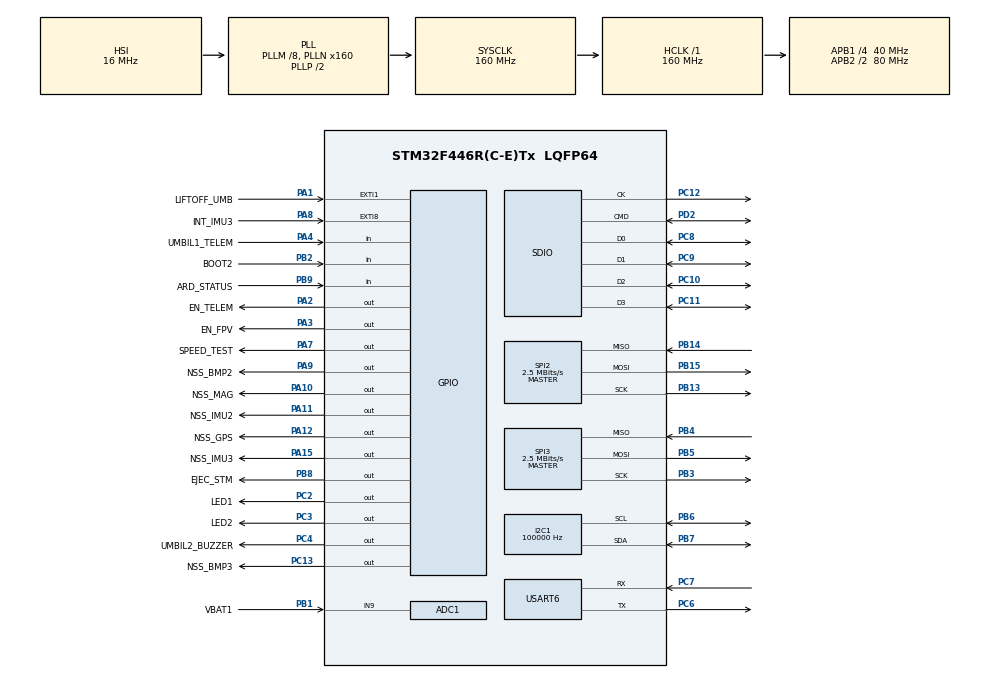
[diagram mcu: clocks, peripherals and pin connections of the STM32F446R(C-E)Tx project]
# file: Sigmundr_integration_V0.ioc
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ADC1.Channel-0\#ChannelRegularConversion=ADC_CHANNEL_9
ADC1.Channel-IN9=ADC_CHANNEL_9
ADC1.ClockPrescaler=ADC_CLOCK_SYNC_PCLK_DIV8
ADC1.ContinuousConvMode=DISABLE
ADC1.DMAContinuousRequests=DISABLE
ADC1.DataAlign=ADC_DATAALIGN_RIGHT
ADC1.DiscontinuousConvMode=DISABLE
ADC1.EOCSelection=ADC_EOC_SINGLE_CONV
ADC1.EnableAnalogWatchDog=false
ADC1.ExternalTrigConv=ADC_SOFTWARE_START
ADC1.ExternalTrigConvEdge=ADC_EXTERNALTRIGCONVEDGE_NONE
ADC1.InjNumberOfConversion=0
ADC1.Mode=__NULL
ADC1.NbrOfConversion=1
ADC1.Rank-0\#ChannelRegularConversion=1
ADC1.Resolution=ADC_RESOLUTION_12B
ADC1.SamplingTime-0\#ChannelRegularConversion=ADC_SAMPLETIME_15CYCLES
ADC1.ScanConvMode=DISABLE
ADC1.master=1
Dma.Request0=SPI2_RX
Dma.Request1=SPI2_TX
Dma.Request2=SPI3_RX
Dma.Request3=SPI3_TX
Dma.Request4=USART6_RX
Dma.Request5=USART6_TX
Dma.SPI2_RX.0.Direction=DMA_PERIPH_TO_MEMORY
Dma.SPI2_RX.0.FIFOMode=DMA_FIFOMODE_DISABLE
Dma.SPI2_RX.0.Instance=DMA1_Stream3
Dma.SPI2_RX.0.MemDataAlignment=DMA_MDATAALIGN_BYTE
Dma.SPI2_RX.0.MemInc=DMA_MINC_ENABLE
Dma.SPI2_RX.0.Mode=DMA_NORMAL
Dma.SPI2_RX.0.PeriphDataAlignment=DMA_PDATAALIGN_BYTE
Dma.SPI2_RX.0.PeriphInc=DMA_PINC_DISABLE
Dma.SPI2_RX.0.Priority=DMA_PRIORITY_MEDIUM
Dma.SPI2_TX.1.Direction=DMA_MEMORY_TO_PERIPH
Dma.SPI2_TX.1.FIFOMode=DMA_FIFOMODE_DISABLE
Dma.SPI2_TX.1.Instance=DMA1_Stream4
Dma.SPI2_TX.1.MemDataAlignment=DMA_MDATAALIGN_BYTE
Dma.SPI2_TX.1.MemInc=DMA_MINC_ENABLE
Dma.SPI2_TX.1.Mode=DMA_NORMAL
Dma.SPI2_TX.1.PeriphDataAlignment=DMA_PDATAALIGN_BYTE
Dma.SPI2_TX.1.PeriphInc=DMA_PINC_DISABLE
Dma.SPI2_TX.1.Priority=DMA_PRIORITY_MEDIUM
Dma.SPI3_RX.2.Direction=DMA_PERIPH_TO_MEMORY
Dma.SPI3_RX.2.FIFOMode=DMA_FIFOMODE_DISABLE
Dma.SPI3_RX.2.Instance=DMA1_Stream0
Dma.SPI3_RX.2.MemDataAlignment=DMA_MDATAALIGN_BYTE
Dma.SPI3_RX.2.MemInc=DMA_MINC_ENABLE
Dma.SPI3_RX.2.Mode=DMA_NORMAL
Dma.SPI3_RX.2.PeriphDataAlignment=DMA_PDATAALIGN_BYTE
Dma.SPI3_RX.2.PeriphInc=DMA_PINC_DISABLE
Dma.SPI3_RX.2.Priority=DMA_PRIORITY_HIGH
Dma.SPI3_TX.3.Direction=DMA_MEMORY_TO_PERIPH
Dma.SPI3_TX.3.FIFOMode=DMA_FIFOMODE_DISABLE
Dma.SPI3_TX.3.Instance=DMA1_Stream5
Dma.SPI3_TX.3.MemDataAlignment=DMA_MDATAALIGN_BYTE
Dma.SPI3_TX.3.MemInc=DMA_MINC_ENABLE
Dma.SPI3_TX.3.Mode=DMA_NORMAL
Dma.SPI3_TX.3.PeriphDataAlignment=DMA_PDATAALIGN_BYTE
Dma.SPI3_TX.3.PeriphInc=DMA_PINC_DISABLE
Dma.SPI3_TX.3.Priority=DMA_PRIORITY_HIGH
Dma.USART6_RX.4.Direction=DMA_PERIPH_TO_MEMORY
Dma.USART6_RX.4.FIFOMode=DMA_FIFOMODE_DISABLE
Dma.USART6_RX.4.Instance=DMA2_Stream1
Dma.USART6_RX.4.MemDataAlignment=DMA_MDATAALIGN_BYTE
Dma.USART6_RX.4.MemInc=DMA_MINC_ENABLE
Dma.USART6_RX.4.Mode=DMA_NORMAL
Dma.USART6_RX.4.PeriphDataAlignment=DMA_PDATAALIGN_BYTE
Dma.USART6_RX.4.PeriphInc=DMA_PINC_DISABLE
Dma.USART6_RX.4.Priority=DMA_PRIORITY_LOW
Dma.USART6_TX.5.Direction=DMA_MEMORY_TO_PERIPH
Dma.USART6_TX.5.FIFOMode=DMA_FIFOMODE_DISABLE
Dma.USART6_TX.5.Instance=DMA2_Stream7
Dma.USART6_TX.5.MemDataAlignment=DMA_MDATAALIGN_BYTE
Dma.USART6_TX.5.MemInc=DMA_MINC_ENABLE
Dma.USART6_TX.5.Mode=DMA_NORMAL
Dma.USART6_TX.5.PeriphDataAlignment=DMA_PDATAALIGN_BYTE
Dma.USART6_TX.5.PeriphInc=DMA_PINC_DISABLE
Dma.USART6_TX.5.Priority=DMA_PRIORITY_LOW
FATFS.USE_DMA_CODE_SD=0
FATFS._MAX_SS=4096
FATFS._STRF_ENCODE=0
I2C1.AddressingMode=I2C_ADDRESSINGMODE_7BIT
I2C1.ClockSpeed=100000
I2C1.DualAddressMode=I2C_DUALADDRESS_DISABLE
I2C1.GeneralCallMode=I2C_GENERALCALL_DISABLE
I2C1.I2C_Mode=I2C_Standard
I2C1.NoStretchMode=I2C_NOSTRETCH_DISABLE
I2C1.OwnAddress=0
Mcu.Family=STM32F4
Mcu.Name=STM32F446R(C-E)Tx
Mcu.Package=LQFP64
NVIC.DMA1_Stream0_IRQn=true\:0\:0\:false\:false\:true\:false\:true
NVIC.DMA1_Stream3_IRQn=true\:0\:0\:false\:false\:true\:false\:true
NVIC.DMA1_Stream4_IRQn=true\:0\:0\:false\:false\:true\:false\:true
NVIC.DMA1_Stream5_IRQn=true\:0\:0\:false\:false\:true\:false\:true
NVIC.DMA2_Stream1_IRQn=true\:0\:0\:false\:false\:true\:false\:true
NVIC.DMA2_Stream7_IRQn=true\:0\:0\:false\:false\:true\:false\:true
NVIC.PriorityGroup=NVIC_PRIORITYGROUP_0
PA1.GPIO_Label=LIFTOFF_UMB
PA1.GPIO_ModeDefaultEXTI=GPIO_MODE_IT_FALLING
PA1.Signal=GPXTI1
PA10.GPIO_Label=NSS_MAG
PA10.GPIO_Speed=GPIO_SPEED_FREQ_HIGH
PA10.PinState=GPIO_PIN_SET
PA10.Signal=GPIO_Output
PA11.GPIO_Label=NSS_IMU2
PA11.GPIO_Speed=GPIO_SPEED_FREQ_HIGH
PA11.PinState=GPIO_PIN_SET
PA11.Signal=GPIO_Output
PA12.GPIO_Label=NSS_GPS
PA12.GPIO_Speed=GPIO_SPEED_FREQ_HIGH
PA12.PinState=GPIO_PIN_SET
PA12.Signal=GPIO_Output
PA13.Mode=Serial_Wire
PA13.Signal=SYS_JTMS-SWDIO
PA14.Mode=Serial_Wire
PA14.Signal=SYS_JTCK-SWCLK
PA15.GPIO_Label=NSS_IMU3
PA15.GPIO_Speed=GPIO_SPEED_FREQ_HIGH
PA15.PinState=GPIO_PIN_SET
PA15.Signal=GPIO_Output
PA2.GPIO_Label=EN_TELEM
PA2.Signal=GPIO_Output
PA3.GPIO_Label=EN_FPV
PA3.Signal=GPIO_Output
PA4.GPIO_Label=UMBIL1_TELEM
PA4.GPIO_PuPd=GPIO_PULLUP
PA4.Signal=GPIO_Input
PA7.GPIO_Label=SPEED_TEST
PA7.Signal=GPIO_Output
PA8.GPIO_Label=INT_IMU3
PA8.Signal=GPXTI8
PA9.GPIO_Label=NSS_BMP2
PA9.GPIO_Speed=GPIO_SPEED_FREQ_HIGH
PA9.PinState=GPIO_PIN_SET
PA9.Signal=GPIO_Output
PB0.GPIO_Label=VBAT2
PB0.Signal=ADCx_IN8
PB1.GPIO_Label=VBAT1
PB1.Signal=ADCx_IN9
PB13.Mode=Full_Duplex_Master
PB13.Signal=SPI2_SCK
PB14.Mode=Full_Duplex_Master
PB14.Signal=SPI2_MISO
PB15.Mode=Full_Duplex_Master
PB15.Signal=SPI2_MOSI
PB2.GPIO_Label=BOOT2
PB2.Signal=GPIO_Input
PB3.Mode=Full_Duplex_Master
PB3.Signal=SPI3_SCK
PB4.Mode=Full_Duplex_Master
PB4.Signal=SPI3_MISO
PB5.Mode=Full_Duplex_Master
PB5.Signal=SPI3_MOSI
PB6.GPIO_PuPdOD=GPIO_NOPULL
PB6.Mode=I2C
PB6.Signal=I2C1_SCL
PB7.GPIO_PuPdOD=GPIO_NOPULL
PB7.Mode=I2C
PB7.Signal=I2C1_SDA
PB8.GPIO_Label=EJEC_STM
PB8.Signal=GPIO_Output
PB9.GPIO_Label=ARD_STATUS
PB9.GPIO_PuPd=GPIO_PULLDOWN
PB9.Signal=GPIO_Input
PC10.Mode=SD_4_bits_Wide_bus
PC10.Signal=SDIO_D2
PC11.Mode=SD_4_bits_Wide_bus
PC11.Signal=SDIO_D3
PC12.Mode=SD_4_bits_Wide_bus
PC12.Signal=SDIO_CK
PC13.GPIO_Label=NSS_BMP3
PC13.PinState=GPIO_PIN_SET
PC13.Signal=GPIO_Output
PC14-OSC32_IN.Mode=LSE-External-Clock-Source
PC14-OSC32_IN.Signal=RCC_OSC32_IN
PC15-OSC32_OUT.Mode=LSE-External-Clock-Source
PC15-OSC32_OUT.Signal=RCC_OSC32_OUT
PC2.GPIO_Label=LED1
PC2.Signal=GPIO_Output
PC3.GPIO_Label=LED2
PC3.Signal=GPIO_Output
PC4.GPIO_Label=UMBIL2_BUZZER
PC4.PinState=GPIO_PIN_SET
PC4.Signal=GPIO_Output
PC6.Mode=Asynchronous
PC6.Signal=USART6_TX
PC7.Mode=Asynchronous
PC7.Signal=USART6_RX
PC8.Mode=SD_4_bits_Wide_bus
PC8.Signal=SDIO_D0
PC9.Mode=SD_4_bits_Wide_bus
PC9.Signal=SDIO_D1
PD2.Mode=SD_4_bits_Wide_bus
PD2.Signal=SDIO_CMD
PH0-OSC_IN.Mode=HSE-External-Clock-Source
PH0-OSC_IN.Signal=RCC_OSC_IN
PH1-OSC_OUT.Mode=HSE-External-Clock-Source
PH1-OSC_OUT.Signal=RCC_OSC_OUT
ProjectManager.HeapSize=0x2000
ProjectManager.StackSize=0x4000
ProjectManager.TargetToolchain=TrueSTUDIO
RCC.AHBFreq_Value=160000000
RCC.APB1CLKDivider=RCC_HCLK_DIV4
RCC.APB1Freq_Value=40000000
RCC.APB1TimFreq_Value=80000000
RCC.APB2CLKDivider=RCC_HCLK_DIV2
RCC.APB2Freq_Value=80000000
RCC.APB2TimFreq_Value=160000000
RCC.CortexFreq_Value=160000000
RCC.HCLKFreq_Value=160000000
RCC.PLLM=8
RCC.PLLN=160
RCC.PLLQ=13
RCC.RCC_RTC_Clock_SourceVirtual=RCC_RTCCLKSOURCE_LSE
RCC.SYSCLKFreq_VALUE=160000000
RCC.SYSCLKSource=RCC_SYSCLKSOURCE_PLLCLK
RCC.USBFreq_Value=24615384.615384616
RCC.VCOOutputFreq_Value=320000000
RTC.AsynchPrediv=127
RTC.Format=RTC_FORMAT_BIN
RTC.SynchPrediv=255
SDIO.ClockDiv=3
SH.ADCx_IN8.0=ADC2_IN8
SH.ADCx_IN9.0=ADC1_IN9,IN9
SPI2.BaudRatePrescaler=SPI_BAUDRATEPRESCALER_16
SPI2.CLKPhase=SPI_PHASE_1EDGE
SPI2.CLKPolarity=SPI_POLARITY_LOW
SPI2.CRCCalculation=SPI_CRCCALCULATION_DISABLE
SPI2.CalculateBaudRate=2.5 MBits/s
SPI2.DataSize=SPI_DATASIZE_8BIT
SPI2.Direction=SPI_DIRECTION_2LINES
SPI2.FirstBit=SPI_FIRSTBIT_MSB
SPI2.Mode=SPI_MODE_MASTER
SPI2.NSS=SPI_NSS_SOFT
SPI2.TIMode=SPI_TIMODE_DISABLE
SPI2.VirtualType=VM_MASTER
SPI3.BaudRatePrescaler=SPI_BAUDRATEPRESCALER_16
SPI3.CLKPhase=SPI_PHASE_1EDGE
SPI3.CLKPolarity=SPI_POLARITY_LOW
SPI3.CRCCalculation=SPI_CRCCALCULATION_DISABLE
SPI3.CalculateBaudRate=2.5 MBits/s
SPI3.DataSize=SPI_DATASIZE_8BIT
SPI3.Direction=SPI_DIRECTION_2LINES
SPI3.FirstBit=SPI_FIRSTBIT_MSB
SPI3.Mode=SPI_MODE_MASTER
SPI3.NSS=SPI_NSS_SOFT
SPI3.TIMode=SPI_TIMODE_DISABLE
SPI3.VirtualType=VM_MASTER
TIM2.Period=4294967295
TIM2.Prescaler=8000
USART6.VirtualMode=VM_ASYNC
VP_FATFS_VS_SDIO.Mode=SDIO
VP_RTC_VS_RTC_Activate.Mode=RTC_Enabled
VP_RTC_VS_RTC_Calendar.Mode=RTC_Calendar
VP_TIM2_VS_ClockSourceINT.Mode=Internal
board=NUCLEO-F446RE

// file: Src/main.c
/* USER CODE BEGIN Header */
/**
  ******************************************************************************
  * @file           : main.c
  * @brief          : Main program body
  ******************************************************************************
  * @attention
  *
  * <h2><center>&copy; Copyright (c) 2019 STMicroelectronics.
  * All rights reserved.</center></h2>
  *
  * This software component is licensed by ST under Ultimate Liberty license
  * SLA0044, the "License"; You may not use this file except in compliance with
  * the License. You may obtain a copy of the License at:
  *                             www.st.com/SLA0044
  *
  ******************************************************************************
  */

//Should put : (version of CubeMx doesn't allow it)
//hadc1.Init.DMAContinuousRequests = ENABLE;
//hadc2.Init.DMAContinuousRequests = ENABLE;
/* USER CODE END Header */

#include "main.h"
#include "fatfs.h"

ADC_HandleTypeDef hadc1;

I2C_HandleTypeDef hi2c1;

RTC_HandleTypeDef hrtc;

SD_HandleTypeDef hsd;

SPI_HandleTypeDef hspi2;
SPI_HandleTypeDef hspi3;
DMA_HandleTypeDef hdma_spi2_rx;
DMA_HandleTypeDef hdma_spi2_tx;
DMA_HandleTypeDef hdma_spi3_rx;
DMA_HandleTypeDef hdma_spi3_tx;

TIM_HandleTypeDef htim2;

UART_HandleTypeDef huart6;
DMA_HandleTypeDef hdma_usart6_rx;
DMA_HandleTypeDef hdma_usart6_tx;

/* USER CODE BEGIN PV */
RTC_TimeTypeDef sTime = {0};								//time from RTC
RTC_DateTypeDef sDate = {0};								//time from RTC
param Bmp2, Bmp3;											//compensation parameters for BMP
uint32_t arm = 0;											//arm variable 	(extern)
uint32_t sample = 0;										//sample variable (extern)
uint32_t err_msg = 0;										//err_msg variable
uint32_t err_init = 0;
/* USER CODE END PV */

void SystemClock_Config(void);
static void MX_GPIO_Init(void);
static void MX_DMA_Init(void);
static void MX_SPI2_Init(void);
static void MX_SPI3_Init(void);
static void MX_I2C1_Init(void);
static void MX_ADC1_Init(void);
static void MX_RTC_Init(void);
static void MX_SDIO_SD_Init(void);
static void MX_TIM2_Init(void);
static void MX_USART6_UART_Init(void);
/* USER CODE BEGIN PFP */
void SD_cardMountInit(FATFS* fs, FIL* f, UINT* bw);
/* USER CODE END PFP */

int main(void)
{
  /* USER CODE BEGIN 1 */
	FATFS fs;
	FIL file;
	UINT bw;
	FRESULT r;

	uint8_t status = 0, statusEjection = 0, statusIgnition = 0, statusLaunched = 0, statusApogee = 0, statusTelem = 0, statusArduinoArming = 0, statusGround = 0;
	uint8_t notLaunched = 1;
	uint16_t ADC_battery1=0, ADC_battery2=0;
	uint32_t readPinPlug = 0;
	uint32_t timerInternal = 0, timeLaunch = 0, timeWindowStart = 0, timeWindowEnd = 0, timeIgnitionEnd = 0, timeGround = 0;
	static const uint32_t windowStart = 105000, windowEnd = 140000;			//Window time in increment of 0.1ms
	static const uint32_t durationIgnition = 100000;							//Minimum duration of ignition for ejection (increment of 0.1ms)
	static const uint32_t timeDescent = 3000000;								//Descent time 5 minutes
	static const uint32_t timeLoop = 200, timeLoopMax = 500;		//time of loop = 20ms
	ArrayRaw DataRawArray = {0};
	ArrayRaw *pointDataRawArray = &DataRawArray;
	ArrayRaw DataRawArrayFreez = {0};
	ArrayRaw *pointDataRawArrayFreez = &DataRawArrayFreez;
	ArrayConv DataConvArray = {{0.0}};
	ArrayRaw *pointDataConvArray = &DataConvArray;
	uint32_t epoch = 0, counterBuzzer = 0, counterTelem = 0;
	time_value t_now;
	gpsParsedPacketTypeDef1 parsedPacketData;								//added by sonal
	gpsParsedPacketTypeDef1 *pointParsedGpsStruct = &parsedPacketData; 		//added by sonal
  /* USER CODE END 1 */

  /* MCU Configuration--------------------------------------------------------*/

  /* Reset of all peripherals, Initializes the Flash interface and the Systick. */
  HAL_Init();

  /* Configure the system clock */
  SystemClock_Config();

  /* Initialize all configured peripherals */
  MX_GPIO_Init();
  MX_DMA_Init();
  MX_SPI2_Init();
  MX_SPI3_Init();
  MX_I2C1_Init();
  MX_ADC1_Init();
  MX_RTC_Init();
  MX_SDIO_SD_Init();
  MX_TIM2_Init();
  MX_USART6_UART_Init();
  MX_FATFS_Init();
  /* USER CODE BEGIN 2 */
   HAL_GPIO_WritePin(LED1_GPIO_Port,LED1_Pin, GPIO_PIN_SET);
   HAL_Delay(10);
   HAL_TIM_Base_Start(&htim2);																	//starts timer2
   err_init |= sensorsInitialization(&Bmp2, &Bmp3);												//Initialization of sensors (IMU,BMP,MAG)
   //if(HAL_ADC_Start_DMA(&hadc1, (uint32_t*) &ADC_battery1, 1) != HAL_OK){err_init |= ERR_INIT_ADC1;}		//Initialization ADC1 (reading voltage Vbat1)
   //if(HAL_ADC_Start_DMA(&hadc2, (uint32_t*) &ADC_battery2, 1) != HAL_OK){err_init |= ERR_INIT_ADC2;}		//Initialization ADC2 (reading voltage Vbat2)
   //SD_cardMountInit(&fs, &file, &bw);															//SD card initialization
	if((r=f_mount(&fs,SDPath,1)) == FR_OK){
		uint8_t path[] = "data.txt\0";
		r = f_open(&file, (char*)path, FA_WRITE |FA_OPEN_APPEND);
	}
	if(r != FR_OK){err_init |= ERR_INIT_SD_CARD};

   while(readPinPlug == 0){															//wait till liftoff wire is connected
	   readPinPlug = 1;
	   for(uint32_t i=0; i<100; i++){												//make sure the connection is solid
			   readPinPlug &= HAL_GPIO_ReadPin(LIFTOFF_UMB_GPIO_Port, LIFTOFF_UMB_Pin);
			   HAL_Delay(10);
	   }
   }
   while(HAL_GPIO_ReadPin(ARD_STATUS_GPIO_Port,ARD_STATUS_Pin) != GPIO_PIN_SET);				//wait till arduino is initialized

   if(err_init==0){
		HAL_GPIO_WritePin(LED2_GPIO_Port, LED2_Pin, GPIO_PIN_SET);
		HAL_GPIO_WritePin(UMBIL2_BUZZER_GPIO_Port, UMBIL2_BUZZER_Pin, GPIO_PIN_RESET);				//Long beep = initialization OK
		HAL_Delay(500);
		HAL_GPIO_WritePin(UMBIL2_BUZZER_GPIO_Port, UMBIL2_BUZZER_Pin, GPIO_PIN_SET);
   }
   epoch = 0;

   //clearFIFO(NSS_IMU3_GPIO_Port, NSS_IMU3_Pin, &hspi3);		//clear the FIFO of the IMU
   clearFIFO(NSS_IMU2_GPIO_Port, NSS_IMU2_Pin, &hspi2); 		//clear the FIFO of the IMU
  /* USER CODE END 2 */

  /* Infinite loop */
  while (1)
  {

    /* USER CODE BEGIN 3 */
	  //while(sample == 0); 												//Wait till new sample time (change by interrupt)
	  //HAL_GPIO_WritePin(SPEED_TEST_GPIO_Port,SPEED_TEST_Pin,GPIO_PIN_SET);
	  //htim3.Instance->CNT = 0;											//put back the CNT from timer3 (for sampling) to zero
	  //sample = 0;
	  //HAL_Delay(50);
	  if(__HAL_TIM_GET_COUNTER(&htim2) > timerInternal + timeLoopMax){err_msg |= ERR_LOOP_TIME};
	  while(__HAL_TIM_GET_COUNTER(&htim2) < timerInternal + timeLoop);	//50 Hz loop
	  timerInternal = __HAL_TIM_GET_COUNTER(&htim2);					//Check time (counter) post launch
	  HAL_RTC_GetTime(&hrtc, &sTime, RTC_FORMAT_BIN); 					//sTime.Hours .Minutes .Seconds .SubSeconds (up to 255).
	  HAL_RTC_GetDate(&hrtc, &sDate, RTC_FORMAT_BIN);					//read Date to unlock Time values
	  epoch++;
	  counterBuzzer++;
	  counterTelem++;
	  DataRawArray.RTC_field[0] = sTime.Hours;								//Put RTC in the frame
	  DataRawArray.RTC_field[1] = sTime.Minutes;
	  DataRawArray.RTC_field[2] = sTime.Seconds;
	  DataRawArray.RTC_field[3] = (uint8_t)(sTime.SecondFraction-sTime.SubSeconds);
	  DataRawArray.Timer = timerInternal;

	  //readIMU((uint8_t*) pointDataRawArray->IMU3, WATERMARK_IMU3, NSS_IMU3_GPIO_Port, NSS_IMU3_Pin, &hspi3);
	  if(readIMU((uint8_t*) pointDataRawArray->IMU2, WATERMARK_IMU2, NSS_IMU2_GPIO_Port, NSS_IMU2_Pin, &hspi2)==1){err_msg |= ERR_NUMBER_BYTES_IMU2;}
	  HAL_ADC_Start(&hadc1);										//start conversion battery voltage1
	  readBMPCal((int32_t*) pointDataRawArray->BMP2, Bmp2, NSS_BMP2_GPIO_Port, NSS_BMP2_Pin, &hspi2);
	  readMAG((uint8_t*) pointDataRawArray->MAG, NSS_MAG_GPIO_Port, NSS_MAG_Pin, &hspi2);
	  readBMPCal((int32_t*) pointDataRawArray->BMP3, Bmp3, NSS_BMP3_GPIO_Port, NSS_BMP3_Pin, &hspi3);
	  readPITOT((uint8_t*) pointDataRawArray->PITOT, &hi2c1);
	  if(HAL_ADC_PollForConversion(&hadc1,1) == HAL_OK){ADC_battery1 = HAL_ADC_GetValue(&hadc1);} //read battery voltage
	  //HAL_ADC_Start(&hadc2);										//Read battery voltage2

	  convertSensors((ArrayConv*)pointDataConvArray, (ArrayRaw*)pointDataRawArray);	//Convert the Data if needed (IMU-BMP-MAG-PITOT)

	  if(epoch >= 20){
		  DataRawArray.FrameNumber = 2;
		  DataRawArray.Endline1[0] = 0;
		  DataRawArray.Endline1[1] = 0;
		  DataRawArray.Endline2[0] = '\r';
		  DataRawArray.Endline2[1] = '\n';
		  //while(hspi2.State != HAL_SPI_STATE_READY){err_msg |= WAIT_IMU2_FINISH_BEFORE_GPS;}
		  //READ GPS
		  gpsSelect();		//resets the CS pin
		  GPS_ReceiveRawPacket(&hspi2);		//read 600 bytes from the receiver over SPI with timeout 10ms
		  gpsDeselect();	//sets the CS pin

		  //to process the read packets, call this function below
		  pointParsedGpsStruct = GPS_ProcessRawPacket();
		  //put the data to the main structure
		  DataRawArray.GPS.currentAltitude = pointParsedGpsStruct->currentAltitude;
		  DataRawArray.GPS.currentLatitude = pointParsedGpsStruct->currentLatitude;
		  DataRawArray.GPS.currentLongitude = pointParsedGpsStruct->currentLongitude;
		  DataRawArray.GPS.fixParamters = pointParsedGpsStruct->fixParamters;
		  DataRawArray.GPS.groundSpeedKmph = pointParsedGpsStruct->groundSpeedKmph;
		  DataRawArray.GPS.hDOP = pointParsedGpsStruct->hDOP;
		  DataRawArray.GPS.magneticHeading = pointParsedGpsStruct->magneticHeading;
		  DataRawArray.GPS.pDOP = pointParsedGpsStruct->pDOP;
		  DataRawArray.GPS.vDOP = pointParsedGpsStruct->vDOP;
	  }
	  else{
		  DataRawArray.FrameNumber = 1;
		  DataRawArray.Endline1[0] = '\r';
		  DataRawArray.Endline1[1] = '\n';
	  }

	  //DETECT APOGEE FUNCTION		----- ADD THIS -----
	  t_now.tv_sec = (sTime.Hours*60 + sTime.Minutes)*60 + sTime.Seconds;
	  t_now.tv_msec = ((sTime.SecondFraction-sTime.SubSeconds) / (sTime.SecondFraction+1.0))*1000;
	  statusEjection = detectEventsAndTriggerParachute((double) DataConvArray.IMU2[2], (double) DataConvArray.PITOT, (double) DataConvArray.BMP3[1], notLaunched, t_now);
	  DataRawArray.Status2 = statusEjection;
	  if(statusEjection >= 128){statusApogee = 1;}		//apogee is detected when MSB of statusEjection==1

	  if((HAL_GPIO_ReadPin(LIFTOFF_UMB_GPIO_Port, LIFTOFF_UMB_Pin) == GPIO_PIN_RESET) && (statusLaunched == 0)){
		  statusLaunched = 1;
		  notLaunched = 0;
		  timeLaunch = timerInternal;
		  timeWindowStart = timeLaunch + windowStart;
		  timeWindowEnd = timeLaunch + windowEnd;
		  timeIgnitionEnd = timeWindowEnd + durationIgnition;
		  timeGround = timeIgnitionEnd + timeDescent;
	  }
	  if((statusLaunched == 1) && (statusApogee == 1) && (timerInternal > timeWindowStart) && (timerInternal < timeWindowEnd)){
		  HAL_GPIO_WritePin(EJEC_STM_GPIO_Port, EJEC_STM_Pin, GPIO_PIN_SET);		// ejection parachute after detection
		  statusIgnition = 1;
	  }
	  if((statusLaunched == 1) && (timerInternal >= timeWindowEnd) && (timerInternal <= timeIgnitionEnd)){
		  HAL_GPIO_WritePin(EJEC_STM_GPIO_Port, EJEC_STM_Pin, GPIO_PIN_SET);		// Force the ejection parachute
		  statusIgnition = 1;
	  }
	  if((statusLaunched == 1) && (timerInternal > timeIgnitionEnd)){
		  HAL_GPIO_WritePin(EJEC_STM_GPIO_Port, EJEC_STM_Pin, GPIO_PIN_RESET);		// Stop ignition
		  statusIgnition = 0;
	  }
	  if((statusLaunched == 1) && (timerInternal > timeGround)){					//report on ground
		  HAL_GPIO_WritePin(EN_FPV_GPIO_Port, EN_FPV_Pin, GPIO_PIN_RESET); 			//Stop FPV
		  statusGround = 1;
	  }

	  //activate telemetry + FPV
	  if((HAL_GPIO_ReadPin(UMBIL1_TELEM_GPIO_Port, UMBIL1_TELEM_Pin) == GPIO_PIN_SET) && (statusGround==0)){
		  HAL_GPIO_WritePin(EN_TELEM_GPIO_Port, EN_TELEM_Pin, GPIO_PIN_SET); 							//Activate telem
		  HAL_GPIO_WritePin(EN_FPV_GPIO_Port, EN_FPV_Pin, GPIO_PIN_SET); 								//Activate FPV
		  statusTelem = 1;
	  }
	  if(HAL_GPIO_ReadPin(UMBIL1_TELEM_GPIO_Port, UMBIL1_TELEM_Pin) == GPIO_PIN_RESET){			//command from LPS
		  HAL_GPIO_WritePin(EN_TELEM_GPIO_Port, EN_TELEM_Pin, GPIO_PIN_RESET);							//Stop telem
		  HAL_GPIO_WritePin(EN_FPV_GPIO_Port, EN_FPV_Pin, GPIO_PIN_RESET); 								//Stop FPV
		  statusTelem = 0;
	  }

	  //while(hspi3.State != HAL_SPI_STATE_READY){err_msg |= WAIT_IMU3_FINISH;}
	  //readBMPCal((int32_t*) pointDataRawArray->BMP3, Bmp3, NSS_BMP3_GPIO_Port, NSS_BMP3_Pin, &hspi3);
	  //while(hspi2.State != HAL_SPI_STATE_READY){err_msg |= WAIT_GPS_FINISH};
	  //readBMPCal((int32_t*) pointDataRawArray->BMP2, Bmp2, NSS_BMP2_GPIO_Port, NSS_BMP2_Pin, &hspi2);
	  //readMAG((uint8_t*) pointDataRawArray->MAG, NSS_MAG_GPIO_Port, NSS_MAG_Pin, &hspi2);
	  //while(hdma_adc1.State != HAL_DMA_STATE_READY){err_msg |= WAIT_ADC1_TO_FINISH};
	  //while(hdma_adc2.State != HAL_DMA_STATE_READY){err_msg |= WAIT_ADC2_TO_FINISH};

	  //just for testing
	  //DataRawArray.Endline1[0] = 0;
	  //DataRawArray.Endline1[1] = 0;
	  //DataRawArray.Endline2[0] = '/r';
	  //DataRawArray.Endline2[1] = '/n';

	  if(HAL_GPIO_ReadPin(ARD_STATUS_GPIO_Port,ARD_STATUS_Pin) == GPIO_PIN_RESET){statusArduinoArming = 1;}
	  else{statusArduinoArming = 0;}
	  status |= statusTelem << STATUS_TELEM;
	  status |= statusLaunched << STATUS_LAUNCHED;
	  status |= statusApogee << STATUS_APOGEE;
	  status |= statusIgnition << STATUS_IGNITING;
	  status |= statusArduinoArming << STATUS_ARDUINO_ARMING;
	  status |= statusGround << STATUS_GROUND;
	  DataRawArray.Status1 = status;
	  DataRawArray.Battery1 = ADC_battery1;
	  //DataRawArray.Battery2 = ADC_battery2;
	  DataRawArray.Err_msg = (uint8_t) err_msg;
	  err_msg = 0;

	  if(statusArduinoArming == 1){HAL_GPIO_WritePin(UMBIL2_BUZZER_GPIO_Port, UMBIL2_BUZZER_Pin, GPIO_PIN_RESET);}
	  else if(statusLaunched == 1){
		  if(statusGround == 0){
			  if(timerInternal < timeIgnitionEnd){HAL_GPIO_WritePin(UMBIL2_BUZZER_GPIO_Port, UMBIL2_BUZZER_Pin, GPIO_PIN_RESET);}	//before end of ignition : buzzer on
			  else{HAL_GPIO_WritePin(UMBIL2_BUZZER_GPIO_Port, UMBIL2_BUZZER_Pin, GPIO_PIN_SET);}									//after ignition, before ground : buzzer off
		  }
		  else{																														//on ground, long beeping
			  if(counterBuzzer==1){HAL_GPIO_WritePin(UMBIL2_BUZZER_GPIO_Port, UMBIL2_BUZZER_Pin, GPIO_PIN_RESET);}
			  else if(counterBuzzer==35){HAL_GPIO_WritePin(UMBIL2_BUZZER_GPIO_Port, UMBIL2_BUZZER_Pin, GPIO_PIN_SET);}
			  else if(counterBuzzer>=100){counterBuzzer = 0;}

			  if(counterTelem==1){HAL_GPIO_WritePin(EN_TELEM_GPIO_Port, EN_TELEM_Pin, GPIO_PIN_SET);}						//Activate Telem
			  else if(counterTelem==140){HAL_GPIO_WritePin(EN_TELEM_GPIO_Port, EN_TELEM_Pin, GPIO_PIN_RESET);} 				//Stop Telem
			  else if(counterTelem>=600){counterTelem = 0;}
		  }
	  }
	  else if(statusLaunched==0){
		  if(counterBuzzer==1){HAL_GPIO_WritePin(UMBIL2_BUZZER_GPIO_Port, UMBIL2_BUZZER_Pin, GPIO_PIN_RESET);}
		  else if(counterBuzzer==5){HAL_GPIO_WritePin(UMBIL2_BUZZER_GPIO_Port, UMBIL2_BUZZER_Pin, GPIO_PIN_SET);}
		  else if(counterBuzzer>=80){counterBuzzer = 0;}
	  }
	  //if liftoff put the buzzer always, then long beep for searching and just activate telem+fpv sometime

	  DataRawArrayFreez = DataRawArray;
	  memset(pointDataRawArray, 0, sizeof(DataRawArray));

	  //uint8_t newl[2];
	  //newl[0] = '\r';
	  //newl[1] = '\n';
	  //HAL_GPIO_WritePin(SPEED_TEST_GPIO_Port,SPEED_TEST_Pin,GPIO_PIN_RESET);

	  if(epoch >= 20){
		  epoch = 0;
		  if(f_write(&file, (uint8_t*) &DataRawArrayFreez.FrameNumber, SIZEWITHGPS, &bw) != FR_OK){err_msg |= ERR_WRITE_SD;}
		  if(f_sync(&file) != FR_OK){err_msg |= ERR_SYNC_SD;}
		  if(HAL_UART_Transmit(&huart6, (uint8_t*) &DataRawArrayFreez.FrameNumber, (uint16_t) SIZEWITHGPS,15) != HAL_OK){err_msg |= ERR_SEND_TELEM;}
		  //HAL_UART_Transmit(&huart6, (uint8_t*)&newl, 2,1);
	  }
	  else{
		  if(f_write(&file, (uint8_t*) &DataRawArrayFreez.FrameNumber, SIZEWITHOUTGPS, &bw) != FR_OK){err_msg |= ERR_WRITE_SD;}
		  if(epoch % 10 ==0){if(f_sync(&file) != FR_OK){err_msg |= ERR_SYNC_SD;}}
		  if(HAL_UART_Transmit(&huart6, (uint8_t*) &DataRawArrayFreez.FrameNumber, (uint16_t) SIZEWITHOUTGPS,12) != HAL_OK){err_msg |= ERR_SEND_TELEM;}
		  //HAL_UART_Transmit(&huart6, (uint8_t*)&newl, 2,1);
	  }
  }
  /* USER CODE END 3 */
}

void SystemClock_Config(void)
{
  RCC_OscInitTypeDef RCC_OscInitStruct = {0};
  RCC_ClkInitTypeDef RCC_ClkInitStruct = {0};
  RCC_PeriphCLKInitTypeDef PeriphClkInitStruct = {0};

  /** Configure the main internal regulator output voltage
  */
  __HAL_RCC_PWR_CLK_ENABLE();
  __HAL_PWR_VOLTAGESCALING_CONFIG(PWR_REGULATOR_VOLTAGE_SCALE1);
  /** Initializes the CPU, AHB and APB busses clocks
  */
  RCC_OscInitStruct.OscillatorType = RCC_OSCILLATORTYPE_HSI|RCC_OSCILLATORTYPE_LSE;
  RCC_OscInitStruct.LSEState = RCC_LSE_BYPASS;
  RCC_OscInitStruct.HSIState = RCC_HSI_ON;
  RCC_OscInitStruct.HSICalibrationValue = RCC_HSICALIBRATION_DEFAULT;
  RCC_OscInitStruct.PLL.PLLState = RCC_PLL_ON;
  RCC_OscInitStruct.PLL.PLLSource = RCC_PLLSOURCE_HSI;
  RCC_OscInitStruct.PLL.PLLM = 8;
  RCC_OscInitStruct.PLL.PLLN = 160;
  RCC_OscInitStruct.PLL.PLLP = RCC_PLLP_DIV2;
  RCC_OscInitStruct.PLL.PLLQ = 13;
  RCC_OscInitStruct.PLL.PLLR = 2;
  if (HAL_RCC_OscConfig(&RCC_OscInitStruct) != HAL_OK)
  {
    Error_Handler();
  }
  /** Initializes the CPU, AHB and APB busses clocks
  */
  RCC_ClkInitStruct.ClockType = RCC_CLOCKTYPE_HCLK|RCC_CLOCKTYPE_SYSCLK
                              |RCC_CLOCKTYPE_PCLK1|RCC_CLOCKTYPE_PCLK2;
  RCC_ClkInitStruct.SYSCLKSource = RCC_SYSCLKSOURCE_PLLCLK;
  RCC_ClkInitStruct.AHBCLKDivider = RCC_SYSCLK_DIV1;
  RCC_ClkInitStruct.APB1CLKDivider = RCC_HCLK_DIV4;
  RCC_ClkInitStruct.APB2CLKDivider = RCC_HCLK_DIV2;

  if (HAL_RCC_ClockConfig(&RCC_ClkInitStruct, FLASH_LATENCY_5) != HAL_OK)
  {
    Error_Handler();
  }
  PeriphClkInitStruct.PeriphClockSelection = RCC_PERIPHCLK_RTC|RCC_PERIPHCLK_SDIO
                              |RCC_PERIPHCLK_CLK48;
  PeriphClkInitStruct.RTCClockSelection = RCC_RTCCLKSOURCE_LSE;
  PeriphClkInitStruct.Clk48ClockSelection = RCC_CLK48CLKSOURCE_PLLQ;
  PeriphClkInitStruct.SdioClockSelection = RCC_SDIOCLKSOURCE_CLK48;
  if (HAL_RCCEx_PeriphCLKConfig(&PeriphClkInitStruct) != HAL_OK)
  {
    Error_Handler();
  }
}

static void MX_ADC1_Init(void)
{

  ADC_ChannelConfTypeDef sConfig = {0};

  /** Configure the global features of the ADC (Clock, Resolution, Data Alignment and number of conversion)
  */
  hadc1.Instance = ADC1;
  hadc1.Init.ClockPrescaler = ADC_CLOCK_SYNC_PCLK_DIV8;
  hadc1.Init.Resolution = ADC_RESOLUTION_12B;
  hadc1.Init.ScanConvMode = DISABLE;
  hadc1.Init.ContinuousConvMode = DISABLE;
  hadc1.Init.DiscontinuousConvMode = DISABLE;
  hadc1.Init.ExternalTrigConvEdge = ADC_EXTERNALTRIGCONVEDGE_NONE;
  hadc1.Init.ExternalTrigConv = ADC_SOFTWARE_START;
  hadc1.Init.DataAlign = ADC_DATAALIGN_RIGHT;
  hadc1.Init.NbrOfConversion = 1;
  hadc1.Init.DMAContinuousRequests = DISABLE;
  hadc1.Init.EOCSelection = ADC_EOC_SINGLE_CONV;
  if (HAL_ADC_Init(&hadc1) != HAL_OK)
  {
    Error_Handler();
  }
  /** Configure for the selected ADC regular channel its corresponding rank in the sequencer and its sample time.
  */
  sConfig.Channel = ADC_CHANNEL_9;
  sConfig.Rank = 1;
  sConfig.SamplingTime = ADC_SAMPLETIME_15CYCLES;
  if (HAL_ADC_ConfigChannel(&hadc1, &sConfig) != HAL_OK)
  {
    Error_Handler();
  }
  /* USER CODE BEGIN ADC1_Init 2 */
  //hadc1.Init.DMAContinuousRequests = ENABLE;
  /* USER CODE END ADC1_Init 2 */

}

static void MX_I2C1_Init(void)
{

  hi2c1.Instance = I2C1;
  hi2c1.Init.ClockSpeed = 100000;
  hi2c1.Init.DutyCycle = I2C_DUTYCYCLE_2;
  hi2c1.Init.OwnAddress1 = 0;
  hi2c1.Init.AddressingMode = I2C_ADDRESSINGMODE_7BIT;
  hi2c1.Init.DualAddressMode = I2C_DUALADDRESS_DISABLE;
  hi2c1.Init.OwnAddress2 = 0;
  hi2c1.Init.GeneralCallMode = I2C_GENERALCALL_DISABLE;
  hi2c1.Init.NoStretchMode = I2C_NOSTRETCH_DISABLE;
  if (HAL_I2C_Init(&hi2c1) != HAL_OK)
  {
    Error_Handler();
  }

}

static void MX_RTC_Init(void)
{

  RTC_TimeTypeDef sTime = {0};
  RTC_DateTypeDef sDate = {0};

  /** Initialize RTC Only
  */
  hrtc.Instance = RTC;
  hrtc.Init.HourFormat = RTC_HOURFORMAT_24;
  hrtc.Init.AsynchPrediv = 127;
  hrtc.Init.SynchPrediv = 255;
  hrtc.Init.OutPut = RTC_OUTPUT_DISABLE;
  hrtc.Init.OutPutPolarity = RTC_OUTPUT_POLARITY_HIGH;
  hrtc.Init.OutPutType = RTC_OUTPUT_TYPE_OPENDRAIN;
  if (HAL_RTC_Init(&hrtc) != HAL_OK)
  {
    Error_Handler();
  }

  /** Initialize RTC and set the Time and Date
  */
  sTime.Hours = 0;
  sTime.Minutes = 0;
  sTime.Seconds = 0;
  sTime.DayLightSaving = RTC_DAYLIGHTSAVING_NONE;
  sTime.StoreOperation = RTC_STOREOPERATION_RESET;
  if (HAL_RTC_SetTime(&hrtc, &sTime, RTC_FORMAT_BIN) != HAL_OK)
  {
    Error_Handler();
  }
  sDate.WeekDay = RTC_WEEKDAY_MONDAY;
  sDate.Month = RTC_MONTH_JANUARY;
  sDate.Date = 1;
  sDate.Year = 0;

  if (HAL_RTC_SetDate(&hrtc, &sDate, RTC_FORMAT_BIN) != HAL_OK)
  {
    Error_Handler();
  }

}

static void MX_SDIO_SD_Init(void)
{

  hsd.Instance = SDIO;
  hsd.Init.ClockEdge = SDIO_CLOCK_EDGE_RISING;
  hsd.Init.ClockBypass = SDIO_CLOCK_BYPASS_DISABLE;
  hsd.Init.ClockPowerSave = SDIO_CLOCK_POWER_SAVE_DISABLE;
  hsd.Init.BusWide = SDIO_BUS_WIDE_1B;
  hsd.Init.HardwareFlowControl = SDIO_HARDWARE_FLOW_CONTROL_DISABLE;
  hsd.Init.ClockDiv = 3;

}

static void MX_SPI2_Init(void)
{

  /* SPI2 parameter configuration*/
  hspi2.Instance = SPI2;
  hspi2.Init.Mode = SPI_MODE_MASTER;
  hspi2.Init.Direction = SPI_DIRECTION_2LINES;
  hspi2.Init.DataSize = SPI_DATASIZE_8BIT;
  hspi2.Init.CLKPolarity = SPI_POLARITY_LOW;
  hspi2.Init.CLKPhase = SPI_PHASE_1EDGE;
  hspi2.Init.NSS = SPI_NSS_SOFT;
  hspi2.Init.BaudRatePrescaler = SPI_BAUDRATEPRESCALER_16;
  hspi2.Init.FirstBit = SPI_FIRSTBIT_MSB;
  hspi2.Init.TIMode = SPI_TIMODE_DISABLE;
  hspi2.Init.CRCCalculation = SPI_CRCCALCULATION_DISABLE;
  hspi2.Init.CRCPolynomial = 10;
  if (HAL_SPI_Init(&hspi2) != HAL_OK)
  {
    Error_Handler();
  }

}

static void MX_SPI3_Init(void)
{

  /* SPI3 parameter configuration*/
  hspi3.Instance = SPI3;
  hspi3.Init.Mode = SPI_MODE_MASTER;
  hspi3.Init.Direction = SPI_DIRECTION_2LINES;
  hspi3.Init.DataSize = SPI_DATASIZE_8BIT;
  hspi3.Init.CLKPolarity = SPI_POLARITY_LOW;
  hspi3.Init.CLKPhase = SPI_PHASE_1EDGE;
  hspi3.Init.NSS = SPI_NSS_SOFT;
  hspi3.Init.BaudRatePrescaler = SPI_BAUDRATEPRESCALER_16;
  hspi3.Init.FirstBit = SPI_FIRSTBIT_MSB;
  hspi3.Init.TIMode = SPI_TIMODE_DISABLE;
  hspi3.Init.CRCCalculation = SPI_CRCCALCULATION_DISABLE;
  hspi3.Init.CRCPolynomial = 10;
  if (HAL_SPI_Init(&hspi3) != HAL_OK)
  {
    Error_Handler();
  }

}

static void MX_TIM2_Init(void)
{

  TIM_ClockConfigTypeDef sClockSourceConfig = {0};
  TIM_MasterConfigTypeDef sMasterConfig = {0};

  htim2.Instance = TIM2;
  htim2.Init.Prescaler = 8000;
  htim2.Init.CounterMode = TIM_COUNTERMODE_UP;
  htim2.Init.Period = 4294967295;
  htim2.Init.ClockDivision = TIM_CLOCKDIVISION_DIV1;
  htim2.Init.AutoReloadPreload = TIM_AUTORELOAD_PRELOAD_DISABLE;
  if (HAL_TIM_Base_Init(&htim2) != HAL_OK)
  {
    Error_Handler();
  }
  sClockSourceConfig.ClockSource = TIM_CLOCKSOURCE_INTERNAL;
  if (HAL_TIM_ConfigClockSource(&htim2, &sClockSourceConfig) != HAL_OK)
  {
    Error_Handler();
  }
  sMasterConfig.MasterOutputTrigger = TIM_TRGO_RESET;
  sMasterConfig.MasterSlaveMode = TIM_MASTERSLAVEMODE_DISABLE;
  if (HAL_TIMEx_MasterConfigSynchronization(&htim2, &sMasterConfig) != HAL_OK)
  {
    Error_Handler();
  }

}

static void MX_USART6_UART_Init(void)
{

  huart6.Instance = USART6;
  huart6.Init.BaudRate = 115200;
  huart6.Init.WordLength = UART_WORDLENGTH_8B;
  huart6.Init.StopBits = UART_STOPBITS_1;
  huart6.Init.Parity = UART_PARITY_NONE;
  huart6.Init.Mode = UART_MODE_TX_RX;
  huart6.Init.HwFlowCtl = UART_HWCONTROL_NONE;
  huart6.Init.OverSampling = UART_OVERSAMPLING_16;
  if (HAL_UART_Init(&huart6) != HAL_OK)
  {
    Error_Handler();
  }

}

static void MX_DMA_Init(void)
{

  /* DMA controller clock enable */
  __HAL_RCC_DMA1_CLK_ENABLE();
  __HAL_RCC_DMA2_CLK_ENABLE();

  /* DMA interrupt init */
  /* DMA1_Stream0_IRQn interrupt configuration */
  HAL_NVIC_SetPriority(DMA1_Stream0_IRQn, 0, 0);
  HAL_NVIC_EnableIRQ(DMA1_Stream0_IRQn);
  /* DMA1_Stream3_IRQn interrupt configuration */
  HAL_NVIC_SetPriority(DMA1_Stream3_IRQn, 0, 0);
  HAL_NVIC_EnableIRQ(DMA1_Stream3_IRQn);
  /* DMA1_Stream4_IRQn interrupt configuration */
  HAL_NVIC_SetPriority(DMA1_Stream4_IRQn, 0, 0);
  HAL_NVIC_EnableIRQ(DMA1_Stream4_IRQn);
  /* DMA1_Stream5_IRQn interrupt configuration */
  HAL_NVIC_SetPriority(DMA1_Stream5_IRQn, 0, 0);
  HAL_NVIC_EnableIRQ(DMA1_Stream5_IRQn);
  /* DMA2_Stream1_IRQn interrupt configuration */
  HAL_NVIC_SetPriority(DMA2_Stream1_IRQn, 0, 0);
  HAL_NVIC_EnableIRQ(DMA2_Stream1_IRQn);
  /* DMA2_Stream7_IRQn interrupt configuration */
  HAL_NVIC_SetPriority(DMA2_Stream7_IRQn, 0, 0);
  HAL_NVIC_EnableIRQ(DMA2_Stream7_IRQn);

}

static void MX_GPIO_Init(void)
{
  GPIO_InitTypeDef GPIO_InitStruct = {0};

  /* GPIO Ports Clock Enable */
  __HAL_RCC_GPIOC_CLK_ENABLE();
  __HAL_RCC_GPIOH_CLK_ENABLE();
  __HAL_RCC_GPIOA_CLK_ENABLE();
  __HAL_RCC_GPIOB_CLK_ENABLE();
  __HAL_RCC_GPIOD_CLK_ENABLE();

  /*Configure GPIO pin Output Level */
  HAL_GPIO_WritePin(GPIOC, NSS_BMP3_Pin|UMBIL2_BUZZER_Pin, GPIO_PIN_SET);

  /*Configure GPIO pin Output Level */
  HAL_GPIO_WritePin(GPIOC, LED1_Pin|LED2_Pin, GPIO_PIN_RESET);

  /*Configure GPIO pin Output Level */
  HAL_GPIO_WritePin(GPIOA, EN_TELEM_Pin|EN_FPV_Pin|SPEED_TEST_Pin, GPIO_PIN_RESET);

  /*Configure GPIO pin Output Level */
  HAL_GPIO_WritePin(GPIOA, NSS_BMP2_Pin|NSS_MAG_Pin|NSS_IMU2_Pin|NSS_GPS_Pin
                          |NSS_IMU3_Pin, GPIO_PIN_SET);

  /*Configure GPIO pin Output Level */
  HAL_GPIO_WritePin(EJEC_STM_GPIO_Port, EJEC_STM_Pin, GPIO_PIN_RESET);

  /*Configure GPIO pins : NSS_BMP3_Pin LED1_Pin LED2_Pin UMBIL2_BUZZER_Pin */
  GPIO_InitStruct.Pin = NSS_BMP3_Pin|LED1_Pin|LED2_Pin|UMBIL2_BUZZER_Pin;
  GPIO_InitStruct.Mode = GPIO_MODE_OUTPUT_PP;
  GPIO_InitStruct.Pull = GPIO_NOPULL;
  GPIO_InitStruct.Speed = GPIO_SPEED_FREQ_LOW;
  HAL_GPIO_Init(GPIOC, &GPIO_InitStruct);

  /*Configure GPIO pins : PC0 PC1 PC5 */
  GPIO_InitStruct.Pin = GPIO_PIN_0|GPIO_PIN_1|GPIO_PIN_5;
  GPIO_InitStruct.Mode = GPIO_MODE_ANALOG;
  GPIO_InitStruct.Pull = GPIO_NOPULL;
  HAL_GPIO_Init(GPIOC, &GPIO_InitStruct);

  /*Configure GPIO pins : PA0 PA5 PA6 */
  GPIO_InitStruct.Pin = GPIO_PIN_0|GPIO_PIN_5|GPIO_PIN_6;
  GPIO_InitStruct.Mode = GPIO_MODE_ANALOG;
  GPIO_InitStruct.Pull = GPIO_NOPULL;
  HAL_GPIO_Init(GPIOA, &GPIO_InitStruct);

  /*Configure GPIO pin : LIFTOFF_UMB_Pin */
  GPIO_InitStruct.Pin = LIFTOFF_UMB_Pin;
  GPIO_InitStruct.Mode = GPIO_MODE_IT_FALLING;
  GPIO_InitStruct.Pull = GPIO_NOPULL;
  HAL_GPIO_Init(LIFTOFF_UMB_GPIO_Port, &GPIO_InitStruct);

  /*Configure GPIO pins : EN_TELEM_Pin EN_FPV_Pin SPEED_TEST_Pin */
  GPIO_InitStruct.Pin = EN_TELEM_Pin|EN_FPV_Pin|SPEED_TEST_Pin;
  GPIO_InitStruct.Mode = GPIO_MODE_OUTPUT_PP;
  GPIO_InitStruct.Pull = GPIO_NOPULL;
  GPIO_InitStruct.Speed = GPIO_SPEED_FREQ_LOW;
  HAL_GPIO_Init(GPIOA, &GPIO_InitStruct);

  /*Configure GPIO pin : UMBIL1_TELEM_Pin */
  GPIO_InitStruct.Pin = UMBIL1_TELEM_Pin;
  GPIO_InitStruct.Mode = GPIO_MODE_INPUT;
  GPIO_InitStruct.Pull = GPIO_PULLUP;
  HAL_GPIO_Init(UMBIL1_TELEM_GPIO_Port, &GPIO_InitStruct);

  /*Configure GPIO pins : VBAT2_Pin PB10 PB12 */
  GPIO_InitStruct.Pin = VBAT2_Pin|GPIO_PIN_10|GPIO_PIN_12;
  GPIO_InitStruct.Mode = GPIO_MODE_ANALOG;
  GPIO_InitStruct.Pull = GPIO_NOPULL;
  HAL_GPIO_Init(GPIOB, &GPIO_InitStruct);

  /*Configure GPIO pin : BOOT2_Pin */
  GPIO_InitStruct.Pin = BOOT2_Pin;
  GPIO_InitStruct.Mode = GPIO_MODE_INPUT;
  GPIO_InitStruct.Pull = GPIO_NOPULL;
  HAL_GPIO_Init(BOOT2_GPIO_Port, &GPIO_InitStruct);

  /*Configure GPIO pin : INT_IMU3_Pin */
  GPIO_InitStruct.Pin = INT_IMU3_Pin;
  GPIO_InitStruct.Mode = GPIO_MODE_IT_RISING;
  GPIO_InitStruct.Pull = GPIO_NOPULL;
  HAL_GPIO_Init(INT_IMU3_GPIO_Port, &GPIO_InitStruct);

  /*Configure GPIO pins : NSS_BMP2_Pin NSS_MAG_Pin NSS_IMU2_Pin NSS_GPS_Pin
                           NSS_IMU3_Pin */
  GPIO_InitStruct.Pin = NSS_BMP2_Pin|NSS_MAG_Pin|NSS_IMU2_Pin|NSS_GPS_Pin
                          |NSS_IMU3_Pin;
  GPIO_InitStruct.Mode = GPIO_MODE_OUTPUT_PP;
  GPIO_InitStruct.Pull = GPIO_NOPULL;
  GPIO_InitStruct.Speed = GPIO_SPEED_FREQ_HIGH;
  HAL_GPIO_Init(GPIOA, &GPIO_InitStruct);

  /*Configure GPIO pin : EJEC_STM_Pin */
  GPIO_InitStruct.Pin = EJEC_STM_Pin;
  GPIO_InitStruct.Mode = GPIO_MODE_OUTPUT_PP;
  GPIO_InitStruct.Pull = GPIO_NOPULL;
  GPIO_InitStruct.Speed = GPIO_SPEED_FREQ_LOW;
  HAL_GPIO_Init(EJEC_STM_GPIO_Port, &GPIO_InitStruct);

  /*Configure GPIO pin : ARD_STATUS_Pin */
  GPIO_InitStruct.Pin = ARD_STATUS_Pin;
  GPIO_InitStruct.Mode = GPIO_MODE_INPUT;
  GPIO_InitStruct.Pull = GPIO_PULLDOWN;
  HAL_GPIO_Init(ARD_STATUS_GPIO_Port, &GPIO_InitStruct);

}

/* USER CODE BEGIN 4 */

void SD_cardMountInit(FATFS* fs, FIL* f, UINT* bw){
	FRESULT r;
	if((r=f_mount(fs,SDPath,1)) == FR_OK){
		uint8_t path[] = "data.txt\0";
		r = f_open(f, (char*)path, FA_WRITE |FA_OPEN_APPEND);
	}
	if(r != FR_OK){err_msg |= ERR_INIT_SD_CARD};

	  uint8_t dummySD[8];
	  dummySD[0]='a';
	  dummySD[1]='b';
	  dummySD[2]='c';
	  dummySD[3]='d';
	  dummySD[4]='e';
	  dummySD[5]='f';
	  dummySD[6]='g';
	  dummySD[7]='h';
	  r = f_write(f, (uint8_t*) &dummySD, sizeof(dummySD), bw);
	  r = f_sync(f);
}

// Initialization of the sensors, report error if any
unsigned int sensorsInitialization(param *Bmp2, param *Bmp3){
	unsigned int err = 0;
	//if(initIMU_fast(NSS_IMU3_GPIO_Port, NSS_IMU3_Pin, &hspi3) != 1){err |= ERR_INIT_IMU3;}
	if(initIMU_slow(NSS_IMU2_GPIO_Port, NSS_IMU2_Pin, &hspi2) != 1){err |= ERR_INIT_IMU2;}
	if(initBMP(		NSS_BMP2_GPIO_Port, NSS_BMP2_Pin, &hspi2) != 1){err |= ERR_INIT_BMP2;}
	if(initBMP(		NSS_BMP3_GPIO_Port, NSS_BMP3_Pin, &hspi3) != 1){err |= ERR_INIT_BMP3;}
	if(initMAG(		NSS_MAG_GPIO_Port , NSS_MAG_Pin , &hspi2) != 1){err |= ERR_INIT_MAG;}

	readParamBmp(Bmp2, NSS_BMP2_GPIO_Port, NSS_BMP2_Pin, &hspi2);
	readParamBmp(Bmp3, NSS_BMP3_GPIO_Port, NSS_BMP3_Pin, &hspi3);

	return err;
}

/*
void readSensors(ArrayRaw *Array){
	readIMU((uint8_t*) Array->IMU3, 140	, NSS_IMU3_GPIO_Port, NSS_IMU3_Pin, &hspi2);
	readIMU((uint8_t*) Array->IMU2, 56	, NSS_IMU2_GPIO_Port, NSS_IMU2_Pin, &hspi3);
	readBMPCal((int32_t*) Array->BMP2, Bmp2, NSS_BMP2_GPIO_Port, NSS_BMP2_Pin, &hspi2);
	readBMPCal((int32_t*) Array->BMP3, Bmp3, NSS_BMP3_GPIO_Port, NSS_BMP3_Pin, &hspi3);
	readMAG((uint8_t*) Array->MAG, NSS_MAG_GPIO_Port, NSS_MAG_Pin, &hspi2);
	readPITOT((uint8_t*) Array->PITOT, &hi2c1);
}
*/

void convertSensors(ArrayConv *ArrayConverted, ArrayRaw *ArrayToConvert){
	uint32_t cycleIMU3 = 10; //10
	uint32_t cycleIMU2 = 4; //4

	convIMU((uint8_t*) ArrayToConvert->IMU2, (float*) ArrayConverted->IMU2, cycleIMU2);
	//convIMU((uint8_t*) ArrayToConvert->IMU3, (float*) ArrayConverted->IMU3, cycleIMU3);
	convBMP((int32_t*) ArrayToConvert->BMP2, (float*) ArrayConverted->BMP2);
	convBMP((int32_t*) ArrayToConvert->BMP3, (float*) ArrayConverted->BMP3);
	convMAG((uint8_t*) ArrayToConvert->MAG , (float*) ArrayConverted->MAG );
	convSpeedPITOT((uint8_t*) &ArrayToConvert->PITOT, (float*) &ArrayConverted->PITOT);
}

// Put back the NSS pin high. Since we don't know which sensor was read we put them all high
void HAL_SPI_TxRxCpltCallback(SPI_HandleTypeDef *hspi){
	if(hspi == &hspi2){
		HAL_GPIO_WritePin(NSS_IMU2_GPIO_Port, NSS_IMU2_Pin, GPIO_PIN_SET);
		HAL_GPIO_WritePin(NSS_GPS_GPIO_Port , NSS_GPS_Pin , GPIO_PIN_SET);
		//err_msg |= CPLT_SPI2;
	}
	else if(hspi == &hspi3){
		HAL_GPIO_WritePin(NSS_IMU3_GPIO_Port, NSS_IMU3_Pin, GPIO_PIN_SET);
		//err_msg |= CPLT_SPI3;
	}
}
/*
void HAL_ADC_ConvCpltCallback(ADC_HandleTypeDef* hadc){
	if(hadc == &hadc1){err_msg |= CPLT_ADC1;}
	else if(hadc == &hadc2){err_msg |= CPLT_ADC2;}
}

void HAL_UART_TxCpltCallback(UART_HandleTypeDef *huart){
	err_msg |= CPLT_UART;
}

void HAL_SPI_ErrorCallback(SPI_HandleTypeDef *hspi){
	if		(hspi == &hspi2){err_msg |= ERR_SPI2_ERRORCALLBACK;}
	else if	(hspi == &hspi3){err_msg |= ERR_SPI3_ERRORCALLBACK;}
}

void HAL_UART_ErrorCallback(UART_HandleTypeDef *huart){
	err_msg |= ERR_UART_ERRORCALLBACK;
}
*/
/* USER CODE END 4 */

void Error_Handler(void)
{
}

/************************ (C) COPYRIGHT STMicroelectronics *****END OF FILE****/
